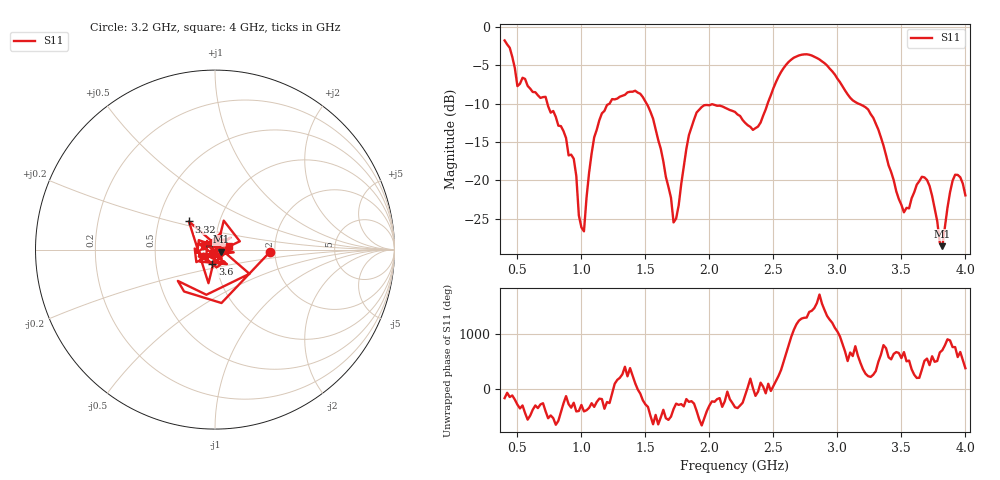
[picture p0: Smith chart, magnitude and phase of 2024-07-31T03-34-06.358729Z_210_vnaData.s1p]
!Created with skrf (http://scikit-rf.org).
# Hz S RI R 50.0
!freq ReS11 ImS11
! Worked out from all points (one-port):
!   181 points, 400 MHz to 4 GHz, reference 50 ohm
!   lowest |S11| = -28.6 dB at 3.82 GHz (marker M1), VSWR 1.08, Z = 53.6 - j1.24 ohm
!   |S11| at or under -10 dB: 734.7 MHz to 1.219 GHz (484.2 MHz wide, 49.6 % of centre); 1.51 GHz to 2.455 GHz (944.8 MHz wide, 47.7 % of centre); 3.165 GHz to end of sweep
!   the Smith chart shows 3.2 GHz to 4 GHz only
!   S11 on the Smith chart (normalised r, x): 3.2 GHz: 1.88, -0.05; 3.32 GHz: 0.71, +0.24; 3.6 GHz: 0.96, -0.16; 4 GHz: 1.16, +0.05
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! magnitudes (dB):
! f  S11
! 400 MHz  -1.7
! 500 MHz  -7.7
! 720 MHz  -9.1
! 860 MHz  -13.6
! 940 MHz  -17.2
! 980 MHz  -24.6
! 1.02 GHz  -26.7
! 1.1 GHz  -14.4
! 1.3 GHz  -9.1
! 1.52 GHz  -10.3
! 1.72 GHz  -25.5
! 1.76 GHz  -23.3
! 1.84 GHz  -14.1
! 1.9 GHz  -11.1
! 2.2 GHz  -11.1
! 2.38 GHz  -13.0
! 2.66 GHz  -4.0
! 2.86 GHz  -4.2
! 3.1 GHz  -9.2
! 3.2 GHz  -10.3
! 3.32 GHz  -13.4
! 3.52 GHz  -24.2
! 3.56 GHz  -23.7
! 3.6 GHz  -21.6
! 3.7 GHz  -20.0
! 3.82 GHz  -28.6
! 3.92 GHz  -19.3
! 4 GHz  -22.0
